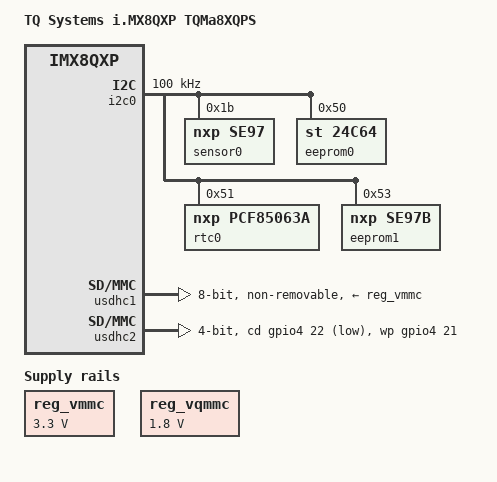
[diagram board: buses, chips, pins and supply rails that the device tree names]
// SPDX-License-Identifier: GPL-2.0+
/*
 * Copyright 2018 - 2020 TQ Systems GmbH
 */

#include "fsl-imx8qxp.dtsi"

/ {
	model = "TQ Systems i.MX8QXP TQMa8XQPS";
	compatible = "tq,tqma8xqps", "fsl,imx8qxp";

	reg_vmmc: regulator-vmmc {
		compatible = "regulator-fixed";
		regulator-name = "MMC0_3V3";
		regulator-min-microvolt = <3300000>;
		regulator-max-microvolt = <3300000>;
		regulator-always-on;
	};

	reg_vqmmc: regulator-vqmmc {
		compatible = "regulator-fixed";
		regulator-name = "MMC0_1V8";
		regulator-min-microvolt = <1800000>;
		regulator-max-microvolt = <1800000>;
		regulator-always-on;
	};

};

&iomuxc {
	pinctrl_lpuart0: lpuart0grp {
		fsl,pins = <
			SC_P_UART0_RX_ADMA_UART0_RX	0x06000020
			SC_P_UART0_TX_ADMA_UART0_TX	0x06000020
		>;
	};

	pinctrl_lpi2c0: lpi2c0grp {
		fsl,pins = <
			SC_P_MIPI_CSI0_GPIO0_00_ADMA_I2C0_SCL	0x06000021
			SC_P_MIPI_CSI0_GPIO0_01_ADMA_I2C0_SDA	0x06000021
		>;
	};

	pinctrl_usdhc1: usdhc1grp {
		fsl,pins = <
			SC_P_EMMC0_CLK_CONN_EMMC0_CLK		0x06000041
			SC_P_EMMC0_CMD_CONN_EMMC0_CMD		0x00000021
			SC_P_EMMC0_DATA0_CONN_EMMC0_DATA0	0x00000021
			SC_P_EMMC0_DATA1_CONN_EMMC0_DATA1	0x00000021
			SC_P_EMMC0_DATA2_CONN_EMMC0_DATA2	0x00000021
			SC_P_EMMC0_DATA3_CONN_EMMC0_DATA3	0x00000021
			SC_P_EMMC0_DATA4_CONN_EMMC0_DATA4	0x00000021
			SC_P_EMMC0_DATA5_CONN_EMMC0_DATA5	0x00000021
			SC_P_EMMC0_DATA6_CONN_EMMC0_DATA6	0x00000021
			SC_P_EMMC0_DATA7_CONN_EMMC0_DATA7	0x00000021
			SC_P_EMMC0_STROBE_CONN_EMMC0_STROBE	0x00000041
		>;
	};

	pinctrl_usdhc1_100mhz: usdhc1grp100mhz {
		fsl,pins = <
			SC_P_EMMC0_CLK_CONN_EMMC0_CLK		0x06000040
			SC_P_EMMC0_CMD_CONN_EMMC0_CMD		0x00000020
			SC_P_EMMC0_DATA0_CONN_EMMC0_DATA0	0x00000020
			SC_P_EMMC0_DATA1_CONN_EMMC0_DATA1	0x00000020
			SC_P_EMMC0_DATA2_CONN_EMMC0_DATA2	0x00000020
			SC_P_EMMC0_DATA3_CONN_EMMC0_DATA3	0x00000020
			SC_P_EMMC0_DATA4_CONN_EMMC0_DATA4	0x00000020
			SC_P_EMMC0_DATA5_CONN_EMMC0_DATA5	0x00000020
			SC_P_EMMC0_DATA6_CONN_EMMC0_DATA6	0x00000020
			SC_P_EMMC0_DATA7_CONN_EMMC0_DATA7	0x00000020
			SC_P_EMMC0_STROBE_CONN_EMMC0_STROBE	0x00000040
		>;
	};

	pinctrl_usdhc1_200mhz: usdhc1grp200mhz {
		fsl,pins = <
			SC_P_EMMC0_CLK_CONN_EMMC0_CLK		0x06000040
			SC_P_EMMC0_CMD_CONN_EMMC0_CMD		0x00000020
			SC_P_EMMC0_DATA0_CONN_EMMC0_DATA0	0x00000020
			SC_P_EMMC0_DATA1_CONN_EMMC0_DATA1	0x00000020
			SC_P_EMMC0_DATA2_CONN_EMMC0_DATA2	0x00000020
			SC_P_EMMC0_DATA3_CONN_EMMC0_DATA3	0x00000020
			SC_P_EMMC0_DATA4_CONN_EMMC0_DATA4	0x00000020
			SC_P_EMMC0_DATA5_CONN_EMMC0_DATA5	0x00000020
			SC_P_EMMC0_DATA6_CONN_EMMC0_DATA6	0x00000020
			SC_P_EMMC0_DATA7_CONN_EMMC0_DATA7	0x00000020
			SC_P_EMMC0_STROBE_CONN_EMMC0_STROBE	0x00000040
		>;
	};

	pinctrl_usdhc2_gpio: usdhc2gpiogrp {
		fsl,pins = <
			SC_P_USDHC1_RESET_B_LSIO_GPIO4_IO19	0x06000021
			SC_P_USDHC1_WP_LSIO_GPIO4_IO21		0x06000021
			SC_P_USDHC1_CD_B_LSIO_GPIO4_IO22	0x06000021
		>;
	};

	pinctrl_usdhc2: usdhc2grp {
		fsl,pins = <
			SC_P_USDHC1_CLK_CONN_USDHC1_CLK		0x06000041
			SC_P_USDHC1_CMD_CONN_USDHC1_CMD		0x00000021
			SC_P_USDHC1_DATA0_CONN_USDHC1_DATA0	0x00000021
			SC_P_USDHC1_DATA1_CONN_USDHC1_DATA1	0x00000021
			SC_P_USDHC1_DATA2_CONN_USDHC1_DATA2	0x00000021
			SC_P_USDHC1_DATA3_CONN_USDHC1_DATA3	0x00000021
			SC_P_USDHC1_VSELECT_CONN_USDHC1_VSELECT	0x00000021
		>;
	};

	pinctrl_usdhc2_100mhz: usdhc2grp100mhz {
		fsl,pins = <
			SC_P_USDHC1_CLK_CONN_USDHC1_CLK		0x06000040
			SC_P_USDHC1_CMD_CONN_USDHC1_CMD		0x00000020
			SC_P_USDHC1_DATA0_CONN_USDHC1_DATA0	0x00000020
			SC_P_USDHC1_DATA1_CONN_USDHC1_DATA1	0x00000020
			SC_P_USDHC1_DATA2_CONN_USDHC1_DATA2	0x00000020
			SC_P_USDHC1_DATA3_CONN_USDHC1_DATA3	0x00000020
			SC_P_USDHC1_VSELECT_CONN_USDHC1_VSELECT	0x00000020
		>;
	};

	pinctrl_usdhc2_200mhz: usdhc2grp200mhz {
		fsl,pins = <
			SC_P_USDHC1_CLK_CONN_USDHC1_CLK		0x06000040
			SC_P_USDHC1_CMD_CONN_USDHC1_CMD		0x00000020
			SC_P_USDHC1_DATA0_CONN_USDHC1_DATA0	0x00000020
			SC_P_USDHC1_DATA1_CONN_USDHC1_DATA1	0x00000020
			SC_P_USDHC1_DATA2_CONN_USDHC1_DATA2	0x00000020
			SC_P_USDHC1_DATA3_CONN_USDHC1_DATA3	0x00000020
			SC_P_USDHC1_VSELECT_CONN_USDHC1_VSELECT	0x00000020
		>;
	};
};

&A35_0 {
	u-boot,dm-pre-reloc;
};

&i2c0 {
	#address-cells = <1>;
	#size-cells = <0>;
	clock-frequency = <100000>;
	pinctrl-names = "default";
	pinctrl-0 = <&pinctrl_lpi2c0>;
	clocks = <&clk IMX8QXP_I2C0_CLK>,
		<&clk IMX8QXP_I2C0_IPG_CLK>;
	clock-names = "per", "ipg";
	status = "okay";

	/* NXP SE97BTP with temperature sensor + eeprom */
	sensor0: tempsensor@1b {
		compatible = "nxp,se97", "jedec,jc-42.4-temp";
		reg = <0x1b>;
		status = "okay";
	};

	eeprom0: eeprom@50 {
		compatible = "st,24c64", "atmel,24c64";
		reg = <0x50>;
		pagesize = <32>;
		status = "okay";
	};

	rtc0: rtc@51 {
		compatible = "nxp,pcf85063a";
		reg = <0x51>;
	};

	eeprom1: eeprom@53 {
		compatible = "nxp,se97b", "atmel,24c02";
		reg = <0x53>;
		pagesize = <16>;
		status = "okay";
	};
};

&lpuart0 {
	pinctrl-names = "default";
	pinctrl-0 = <&pinctrl_lpuart0>;
};

&usdhc1 {
	pinctrl-names = "default", "state_100mhz", "state_200mhz";
	pinctrl-0 = <&pinctrl_usdhc1>;
	pinctrl-1 = <&pinctrl_usdhc1_100mhz>;
	pinctrl-2 = <&pinctrl_usdhc1_200mhz>;
	vmmc-supply = <&reg_vmmc>;
	vqmmc-supply = <&reg_vqmmc>;
	bus-width = <8>;
	non-removable;
	status = "okay";
};

&usdhc2 {
	pinctrl-names = "default", "state_100mhz", "state_200mhz";
	pinctrl-0 = <&pinctrl_usdhc2>, <&pinctrl_usdhc2_gpio>;
	pinctrl-1 = <&pinctrl_usdhc2_100mhz>, <&pinctrl_usdhc2_gpio>;
	pinctrl-2 = <&pinctrl_usdhc2_200mhz>, <&pinctrl_usdhc2_gpio>;
	bus-width = <4>;
	cd-gpios = <&gpio4 22 GPIO_ACTIVE_LOW>;
	wp-gpios = <&gpio4 21 GPIO_ACTIVE_HIGH>;
};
